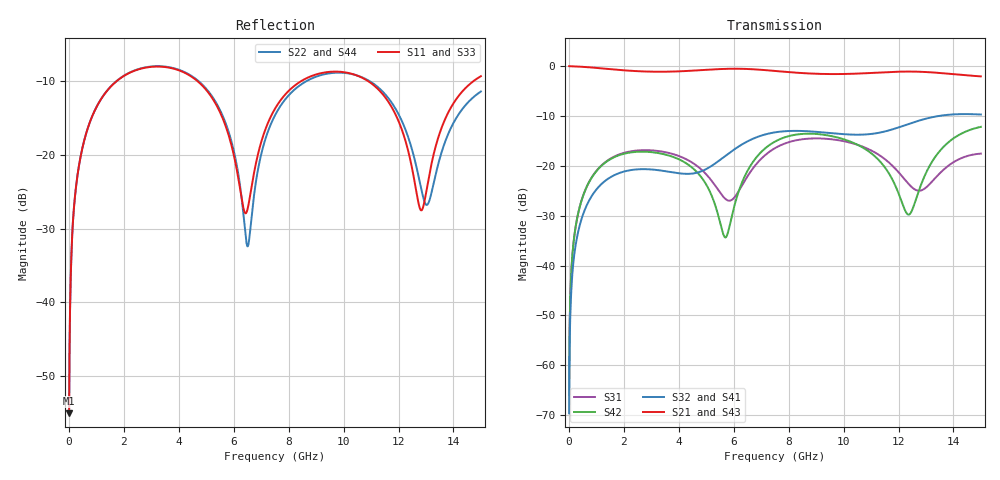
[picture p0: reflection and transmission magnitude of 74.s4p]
! Created with skrf 1.8.0 (http://scikit-rf.org).
# GHz S RI R 50.0
!freq ReS11 ImS11 ReS12 ImS12 ReS13 ImS13
! ReS14 ImS14
! ReS21 ImS21 ReS22 ImS22 ReS23 ImS23
! ReS24 ImS24
! ReS31 ImS31 ReS32 ImS32 ReS33 ImS33
! ReS34 ImS34
! ReS41 ImS41 ReS42 ImS42 ReS43 ImS43
! ReS44 ImS44
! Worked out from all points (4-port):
!   2499 points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, 5 MHz to 15 GHz, reference 50 ohm
!   strongest paths, dB at 5 MHz, 3.476 GHz, 7.19 GHz, 11.1 GHz, 15 GHz:
!     S21: 0.0, -1.1, -0.8, -1.3, -2.1
!     S43: 0.0, -1.1, -0.8, -1.4, -2.0
!     S32: -69.6, -21.0, -13.6, -13.5, -9.7
!     S41: -69.6, -21.1, -13.7, -13.6, -9.8
!     S42: -65.9, -17.7, -16.3, -17.9, -12.2
!     S31: -65.9, -17.2, -17.6, -17.2, -17.6
!   lowest |S11| = -55.1 dB at 5 MHz (marker M1), VSWR 1.00, Z = 50.1 + j0.107 ohm
!   |S11| at or under -10 dB: start of sweep to 1.725 GHz; 4.691 GHz to 8.44 GHz (3.749 GHz wide, 57.1 % of centre); 10.91 GHz to 14.72 GHz (3.811 GHz wide, 29.7 % of centre)
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0.005  0.00139 0.00107  0.9986 -0.00271  6.76e-05 0.000504  -6.59e-05 -0.000323
       0.9986 -0.00271  0.00139 0.00107  -6.59e-05 -0.000323  6.75e-05 0.000504
       6.76e-05 0.000504  -6.59e-05 -0.000323  0.00139 0.00107  0.9986 -0.00271
       -6.59e-05 -0.000323  6.75e-05 0.000504  0.9986 -0.00271  0.00139 0.00107
0.3626511  0.0227 0.0812  0.9688 -0.1955  0.01 0.0347  -0.00822 -0.0221
           0.9688 -0.1955  0.0228 0.0812  -0.00822 -0.0221  0.00952 0.0348
           0.01 0.0347  -0.00822 -0.0221  0.0227 0.0812  0.9688 -0.1955
           -0.00822 -0.0221  0.00952 0.0348  0.9688 -0.1955  0.0228 0.0812
1.619545  0.2343 0.1934  0.6246 -0.6835  0.1073 0.0597  -0.0778 -0.0177
          0.6246 -0.6835  0.2361 0.1924  -0.0779 -0.0176  0.101 0.0667
          0.1073 0.0597  -0.0779 -0.0176  0.2342 0.1934  0.6245 -0.6836
          -0.0778 -0.0177  0.101 0.0667  0.6245 -0.6836  0.2362 0.1923
6.452689  0.0403 0.00185  -0.9353 -0.0545  -0.0308 0.0681  -0.00734 0.1729
          -0.9353 -0.0545  0.0233 -0.0118  -0.00462 0.173  0.0363 0.0758
          -0.0308 0.0681  -0.00462 0.173  0.0408 0.000576  -0.9352 -0.0546
          -0.00734 0.1729  0.0363 0.0758  -0.9352 -0.0546  0.0232 -0.0128
10.48562  0.3289 -0.11  0.1832 0.8206  0.1203 -0.1103  0.1763 -0.1004
          0.1832 0.8206  0.3337 -0.0955  0.1751 -0.1069  0.1308 -0.0985
          0.1203 -0.1103  0.1751 -0.1069  0.3293 -0.1075  0.184 0.8201
          0.1763 -0.1004  0.1308 -0.0985  0.184 0.8201  0.3347 -0.0992
12.83035  0.042 0.000249  0.8594 0.1727  -0.0532 0.0196  0.0536 -0.2834
          0.8594 0.1727  0.0475 -0.0341  0.0431 -0.2853  0.0544 0.0368
          -0.0532 0.0196  0.0431 -0.2853  0.0476 -0.0028  0.8594 0.1721
          0.0536 -0.2834  0.0544 0.0368  0.8594 0.1721  0.0444 -0.0381
15  0.3092 0.1482  0.5263 -0.5879  0.1221 0.0515  -0.2739 -0.1753
    0.5263 -0.5879  0.2349 0.1329  -0.2821 -0.1656  0.2372 -0.0652
    0.1221 0.0515  -0.2821 -0.1656  0.306 0.1413  0.526 -0.5902
    -0.2739 -0.1753  0.2372 -0.0652  0.526 -0.5902  0.2329 0.1304
